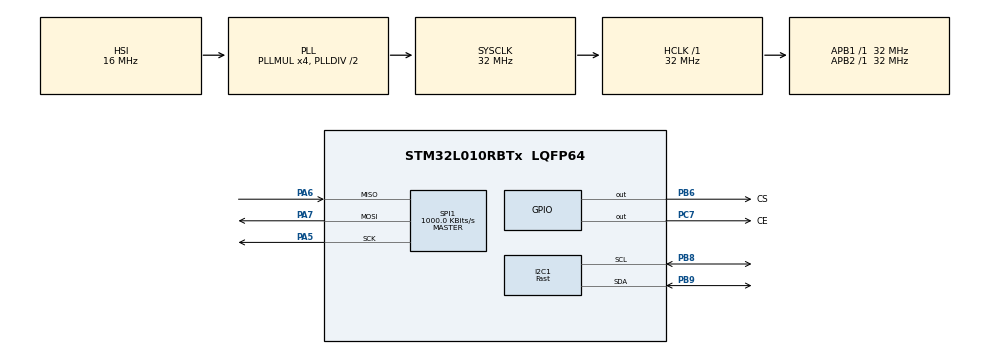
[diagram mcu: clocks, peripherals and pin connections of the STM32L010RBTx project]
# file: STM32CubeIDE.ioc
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Mcu.Family=STM32L0
RCC.MSI_VALUE=2097000
PA6.Mode=Full_Duplex_Master
PA7.Mode=Full_Duplex_Master
I2C1.I2C_Speed_Mode=I2C_Fast
SPI1.VirtualType=VM_MASTER
PA14.GPIO_Label=TCK
PB6.GPIO_Label=CS
RCC.SYSCLKSource=RCC_SYSCLKSOURCE_PLLCLK
ProjectManager.StackSize=0x400
PA13.Signal=SYS_SWDIO
RCC.HSI16_VALUE=16000000
TIM21.Period=12800
ProjectManager.TargetToolchain=STM32CubeIDE
SPI1.Direction=SPI_DIRECTION_2LINES
RCC.HCLKFreq_Value=32000000
PB9.Mode=I2C
RCC.APB2TimFreq_Value=32000000
PB6.Signal=GPIO_Output
I2C1.Timing=0x00300F38
PC7.Signal=GPIO_Output
SPI1.CalculateBaudRate=1000.0 KBits/s
RCC.LSE_VALUE=32768
RCC.AHBFreq_Value=32000000
PA5.Signal=SPI1_SCK
RCC.HSE_VALUE=16000000
board=NUCLEO-L010RB
RCC.VCOOutputFreq_Value=64000000
RCC.PLLMUL=RCC_PLLMUL_4
RCC.APB2Freq_Value=32000000
VP_TIM21_VS_ClockSourceINT.Mode=Internal
VP_TIM2_VS_ClockSourceINT.Mode=Internal
SPI1.Mode=SPI_MODE_MASTER
PA14.Mode=Serial_Wire
TIM21.Prescaler=9999
TIM2.Period=25641
PA13.Mode=Serial_Wire
Mcu.Name=STM32L010RBTx
PA13.GPIO_Label=TMS
PC7.GPIO_Label=CE
RCC.SYSCLKFreq_VALUE=32000000
Mcu.Package=LQFP64
PB9.Signal=I2C1_SDA
TIM2.Prescaler=23
PA6.Signal=SPI1_MISO
PB6.PinState=GPIO_PIN_SET
PA14.Signal=SYS_SWCLK
ProjectManager.HeapSize=0x200
RCC.HSI_VALUE=16000000
PB8.Mode=I2C
RCC.APB1TimFreq_Value=32000000
PB8.Signal=I2C1_SCL
RCC.APB1Freq_Value=32000000
SPI1.BaudRatePrescaler=SPI_BAUDRATEPRESCALER_32
RCC.HSI48_VALUE=48000000
PA5.Mode=Full_Duplex_Master
PA7.Signal=SPI1_MOSI

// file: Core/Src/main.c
/* USER CODE BEGIN Header */
/**
 ******************************************************************************
 * @file           : main.c
 * @brief          : Main program body
 ******************************************************************************
 * @attention
 *
 * <h2><center>&copy; Copyright (c) 2021 STMicroelectronics.
 * All rights reserved.</center></h2>
 *
 * This software component is licensed by ST under BSD 3-Clause license,
 * the "License"; You may not use this file except in compliance with the
 * License. You may obtain a copy of the License at:
 *                        opensource.org/licenses/BSD-3-Clause
 *
 ******************************************************************************
 */
/* USER CODE END Header */
#include "main.h"

/* USER CODE BEGIN Includes */
#include "nRF24L01p.h"

/* USER CODE END Includes */

/* USER CODE BEGIN PTD */
enum fifo
{
  FIFO_OK = 0,
  FIFO_EMPTY = 1,
  FIFO_FULL = 2,
};

/* USER CODE END PTD */

/* USER CODE BEGIN PD */
#define LSM6DSL_R_ADD 0xD7
#define LSM6DSL_W_ADD 0xD6

/* USER CODE END PD */

I2C_HandleTypeDef hi2c1;

SPI_HandleTypeDef hspi1;

TIM_HandleTypeDef htim2;
TIM_HandleTypeDef htim21;

void SystemClock_Config(void);
static void MX_GPIO_Init(void);
static void MX_SPI1_Init(void);
static void MX_TIM2_Init(void);
static void MX_I2C1_Init(void);
static void MX_TIM21_Init(void);
/* USER CODE BEGIN PFP */

void Radio_Init(uint8_t *receiver, uint8_t *transmitter);
void Radio_Receive(void);
void Radio_Transmit(uint8_t *package);

void Acc_Init(void);

void FIFO_Init(void);
int FIFO_Write(uint8_t*, uint8_t);
int FIFO_Read(uint8_t*, uint8_t);

/* USER CODE END PFP */

/* USER CODE BEGIN 0 */

uint8_t transmitter[5] = {0x77, 0xF0, 0xF0, 0xE8, 0xE8};  //This is me, this is my address.
uint8_t receiver[5] = {0xE1, 0xF0, 0xF0, 0xE8, 0xE8};

uint8_t TxSPI[6] = {0xFF, 0xFF, 0xFF, 0xFF, 0xFF, 0xFF};
uint8_t RxSPI[6] = {0xFF, 0xFF, 0xFF, 0xFF, 0xFF, 0xFF};

uint8_t settings[14];
uint8_t package[14];
//uint16_t timeStamp[4000];

/* Queue structure */
#define FIFO_ELEMENTS 6000
#define FIFO_SIZE (FIFO_ELEMENTS + 1)
uint8_t FIFO_buffer[FIFO_SIZE];
uint16_t FIFO_head, FIFO_tail;

int counter;
int counter2;

int16_t accx = 0;
int16_t accy = 0;
int16_t accz = 1;

/* USER CODE END 0 */

int main(void)
{

  /* MCU Configuration--------------------------------------------------------*/

  /* Reset of all peripherals, Initializes the Flash interface and the Systick. */
  HAL_Init();

  /* Configure the system clock */
  SystemClock_Config();

  /* USER CODE BEGIN SysInit */
  RCC->CR &= ~(1 << RCC_CR_MSION_Pos);  //fc:process "Disable" "MSI clock"

  /* USER CODE END SysInit */

  /* Initialize all configured peripherals */
  MX_GPIO_Init();
  MX_SPI1_Init();
  MX_TIM2_Init();
  MX_I2C1_Init();
  MX_TIM21_Init();
  /* USER CODE BEGIN 2 */

  // Flush SPI buffer
  HAL_SPI_Transmit(&hspi1, TxSPI, 6, 100);  //fc:middleware "Flush SPI buffer"
  HAL_SPI_Transmit(&hspi1, TxSPI, 6, 100);
  HAL_SPI_Transmit(&hspi1, TxSPI, 6, 100);

  Radio_Init(receiver, transmitter);  //fc:subRoutine Initialise Radio
  Acc_Init();  //fc:subRoutine Initialise accelerometer

  // Start interrupt on TIM2
  NVIC->ISER[0] |= (1 << TIM2_IRQn);  //fc:process "Enable NVIC interrupt" "for TIM2"
  NVIC_SetPriority(TIM2_IRQn, 1);  //fc:middleware "Edit TIM2 priority"
  TIM2->DIER |= (1 << TIM_DIER_CC1IE_Pos);  //fc:process "Enable TIM2 interrupt"
  TIM2->CR1 |= (1 << TIM_CR1_CEN_Pos);  //fc:process "Start TIM2 counter"

  NVIC->ISER[0] |= (1 << TIM21_IRQn);  //fc:process "Enable NVIC interrupt" "for TIM2"
  NVIC_SetPriority(TIM21_IRQn, 3);  //fc:middleware "Edit TIM2 priority"
  TIM21->DIER |= (1 << TIM_DIER_CC1IE_Pos);  //fc:process "Enable TIM21 interrupt"
  TIM21->CR1 |= (1 << TIM_CR1_CEN_Pos);  //fc:process "Start TIM21 counter"

  package[0] = 0x11;
  package[1] = 0x22;
  package[2] = 0x33;
  package[3] = 0x44;
  package[4] = 0x55;

  TxSPI[0] = W_REGISTER(CONFIG);
  TxSPI[1] = 0x3E;
  HAL_GPIO_WritePin(CS_GPIO_Port, CS_Pin, GPIO_PIN_RESET);
  HAL_SPI_Transmit(&hspi1, TxSPI, 2, 100);
  HAL_GPIO_WritePin(CS_GPIO_Port, CS_Pin, GPIO_PIN_SET);
  /* USER CODE END 2 */

  /* Infinite loop */
  /* USER CODE BEGIN WHILE */
  while(1)  //fc:forLoop while(1)
  {
    /* USER CODE END WHILE */

    /* USER CODE BEGIN 3 */
    //fc:interrupt "TIM2_IRQHandler" "every 1000 ms"
  }  //fc:end
  /* USER CODE END 3 */
}

void SystemClock_Config(void)
{
  RCC_OscInitTypeDef RCC_OscInitStruct = {0};
  RCC_ClkInitTypeDef RCC_ClkInitStruct = {0};
  RCC_PeriphCLKInitTypeDef PeriphClkInit = {0};

  /** Configure the main internal regulator output voltage
   */
  __HAL_PWR_VOLTAGESCALING_CONFIG(PWR_REGULATOR_VOLTAGE_SCALE1);
  /** Initializes the RCC Oscillators according to the specified parameters
   * in the RCC_OscInitTypeDef structure.
   */
  RCC_OscInitStruct.OscillatorType = RCC_OSCILLATORTYPE_HSI;
  RCC_OscInitStruct.HSIState = RCC_HSI_ON;
  RCC_OscInitStruct.HSICalibrationValue = RCC_HSICALIBRATION_DEFAULT;
  RCC_OscInitStruct.PLL.PLLState = RCC_PLL_ON;
  RCC_OscInitStruct.PLL.PLLSource = RCC_PLLSOURCE_HSI;
  RCC_OscInitStruct.PLL.PLLMUL = RCC_PLLMUL_4;
  RCC_OscInitStruct.PLL.PLLDIV = RCC_PLLDIV_2;
  if(HAL_RCC_OscConfig(&RCC_OscInitStruct) != HAL_OK)
  {
    Error_Handler();
  }
  /** Initializes the CPU, AHB and APB buses clocks
   */
  RCC_ClkInitStruct.ClockType = RCC_CLOCKTYPE_HCLK | RCC_CLOCKTYPE_SYSCLK | RCC_CLOCKTYPE_PCLK1 | RCC_CLOCKTYPE_PCLK2;
  RCC_ClkInitStruct.SYSCLKSource = RCC_SYSCLKSOURCE_PLLCLK;
  RCC_ClkInitStruct.AHBCLKDivider = RCC_SYSCLK_DIV1;
  RCC_ClkInitStruct.APB1CLKDivider = RCC_HCLK_DIV1;
  RCC_ClkInitStruct.APB2CLKDivider = RCC_HCLK_DIV1;

  if(HAL_RCC_ClockConfig(&RCC_ClkInitStruct, FLASH_LATENCY_1) != HAL_OK)
  {
    Error_Handler();
  }
  PeriphClkInit.PeriphClockSelection = RCC_PERIPHCLK_I2C1;
  PeriphClkInit.I2c1ClockSelection = RCC_I2C1CLKSOURCE_PCLK1;
  if(HAL_RCCEx_PeriphCLKConfig(&PeriphClkInit) != HAL_OK)
  {
    Error_Handler();
  }
}

static void MX_I2C1_Init(void)
{

  hi2c1.Instance = I2C1;
  hi2c1.Init.Timing = 0x00300F38;
  hi2c1.Init.OwnAddress1 = 0;
  hi2c1.Init.AddressingMode = I2C_ADDRESSINGMODE_7BIT;
  hi2c1.Init.DualAddressMode = I2C_DUALADDRESS_DISABLE;
  hi2c1.Init.OwnAddress2 = 0;
  hi2c1.Init.OwnAddress2Masks = I2C_OA2_NOMASK;
  hi2c1.Init.GeneralCallMode = I2C_GENERALCALL_DISABLE;
  hi2c1.Init.NoStretchMode = I2C_NOSTRETCH_DISABLE;
  if(HAL_I2C_Init(&hi2c1) != HAL_OK)
  {
    Error_Handler();
  }
  /** Configure Analogue filter
   */
  if(HAL_I2CEx_ConfigAnalogFilter(&hi2c1, I2C_ANALOGFILTER_ENABLE) != HAL_OK)
  {
    Error_Handler();
  }
  /** Configure Digital filter
   */
  if(HAL_I2CEx_ConfigDigitalFilter(&hi2c1, 0) != HAL_OK)
  {
    Error_Handler();
  }

}

static void MX_SPI1_Init(void)
{

  /* SPI1 parameter configuration*/
  hspi1.Instance = SPI1;
  hspi1.Init.Mode = SPI_MODE_MASTER;
  hspi1.Init.Direction = SPI_DIRECTION_2LINES;
  hspi1.Init.DataSize = SPI_DATASIZE_8BIT;
  hspi1.Init.CLKPolarity = SPI_POLARITY_LOW;
  hspi1.Init.CLKPhase = SPI_PHASE_1EDGE;
  hspi1.Init.NSS = SPI_NSS_SOFT;
  hspi1.Init.BaudRatePrescaler = SPI_BAUDRATEPRESCALER_32;
  hspi1.Init.FirstBit = SPI_FIRSTBIT_MSB;
  hspi1.Init.TIMode = SPI_TIMODE_DISABLE;
  hspi1.Init.CRCCalculation = SPI_CRCCALCULATION_DISABLE;
  hspi1.Init.CRCPolynomial = 7;
  if(HAL_SPI_Init(&hspi1) != HAL_OK)
  {
    Error_Handler();
  }

}

static void MX_TIM2_Init(void)
{

  TIM_ClockConfigTypeDef sClockSourceConfig = {0};
  TIM_MasterConfigTypeDef sMasterConfig = {0};

  htim2.Instance = TIM2;
  htim2.Init.Prescaler = 23;
  htim2.Init.CounterMode = TIM_COUNTERMODE_UP;
  htim2.Init.Period = 25641;
  htim2.Init.ClockDivision = TIM_CLOCKDIVISION_DIV1;
  htim2.Init.AutoReloadPreload = TIM_AUTORELOAD_PRELOAD_DISABLE;
  if(HAL_TIM_Base_Init(&htim2) != HAL_OK)
  {
    Error_Handler();
  }
  sClockSourceConfig.ClockSource = TIM_CLOCKSOURCE_INTERNAL;
  if(HAL_TIM_ConfigClockSource(&htim2, &sClockSourceConfig) != HAL_OK)
  {
    Error_Handler();
  }
  sMasterConfig.MasterOutputTrigger = TIM_TRGO_RESET;
  sMasterConfig.MasterSlaveMode = TIM_MASTERSLAVEMODE_DISABLE;
  if(HAL_TIMEx_MasterConfigSynchronization(&htim2, &sMasterConfig) != HAL_OK)
  {
    Error_Handler();
  }

}

static void MX_TIM21_Init(void)
{

  TIM_ClockConfigTypeDef sClockSourceConfig = {0};
  TIM_MasterConfigTypeDef sMasterConfig = {0};

  htim21.Instance = TIM21;
  htim21.Init.Prescaler = 9999;
  htim21.Init.CounterMode = TIM_COUNTERMODE_UP;
  htim21.Init.Period = 12800;
  htim21.Init.ClockDivision = TIM_CLOCKDIVISION_DIV1;
  htim21.Init.AutoReloadPreload = TIM_AUTORELOAD_PRELOAD_DISABLE;
  if(HAL_TIM_Base_Init(&htim21) != HAL_OK)
  {
    Error_Handler();
  }
  sClockSourceConfig.ClockSource = TIM_CLOCKSOURCE_INTERNAL;
  if(HAL_TIM_ConfigClockSource(&htim21, &sClockSourceConfig) != HAL_OK)
  {
    Error_Handler();
  }
  sMasterConfig.MasterOutputTrigger = TIM_TRGO_RESET;
  sMasterConfig.MasterSlaveMode = TIM_MASTERSLAVEMODE_DISABLE;
  if(HAL_TIMEx_MasterConfigSynchronization(&htim21, &sMasterConfig) != HAL_OK)
  {
    Error_Handler();
  }

}

static void MX_GPIO_Init(void)
{
  GPIO_InitTypeDef GPIO_InitStruct = {0};

  /* GPIO Ports Clock Enable */
  __HAL_RCC_GPIOA_CLK_ENABLE();
  __HAL_RCC_GPIOC_CLK_ENABLE();
  __HAL_RCC_GPIOB_CLK_ENABLE();

  /*Configure GPIO pin Output Level */
  HAL_GPIO_WritePin(CE_GPIO_Port, CE_Pin, GPIO_PIN_RESET);

  /*Configure GPIO pin Output Level */
  HAL_GPIO_WritePin(CS_GPIO_Port, CS_Pin, GPIO_PIN_SET);

  /*Configure GPIO pin : CE_Pin */
  GPIO_InitStruct.Pin = CE_Pin;
  GPIO_InitStruct.Mode = GPIO_MODE_OUTPUT_PP;
  GPIO_InitStruct.Pull = GPIO_NOPULL;
  GPIO_InitStruct.Speed = GPIO_SPEED_FREQ_LOW;
  HAL_GPIO_Init(CE_GPIO_Port, &GPIO_InitStruct);

  /*Configure GPIO pin : CS_Pin */
  GPIO_InitStruct.Pin = CS_Pin;
  GPIO_InitStruct.Mode = GPIO_MODE_OUTPUT_PP;
  GPIO_InitStruct.Pull = GPIO_NOPULL;
  GPIO_InitStruct.Speed = GPIO_SPEED_FREQ_LOW;
  HAL_GPIO_Init(CS_GPIO_Port, &GPIO_InitStruct);

}

/* USER CODE BEGIN 4 */

void Acc_Init()
{
  TxSPI[0] = 0x10;
  TxSPI[1] = 0x80;
  HAL_I2C_Master_Transmit(&hi2c1, LSM6DSL_W_ADD, TxSPI, 2, 100);

  // Timestamp LSB = 25 us
  TxSPI[0] = 0x5C;
  TxSPI[1] = 0x10;
  HAL_I2C_Master_Transmit(&hi2c1, LSM6DSL_W_ADD, TxSPI, 2, 100);

  // Enable timestamp
  TxSPI[0] = 0x19;
  TxSPI[1] = 0x20;
  HAL_I2C_Master_Transmit(&hi2c1, LSM6DSL_W_ADD, TxSPI, 2, 100);
}

void Radio_Init(uint8_t *receiver, uint8_t *transmitter)
{
  int i;
  // Set RX address for 0th pipe
  TxSPI[0] = W_REGISTER(RX_ADDR_P0);
  for(i = 0; i < 5; i++)
  {
    TxSPI[i + 1] = *(transmitter + i);
  }
  HAL_GPIO_WritePin(CS_GPIO_Port, CS_Pin, GPIO_PIN_RESET);
  HAL_SPI_Transmit(&hspi1, TxSPI, 6, 100);
  HAL_GPIO_WritePin(CS_GPIO_Port, CS_Pin, GPIO_PIN_SET);

  // Set RX address for 1st pipe
  TxSPI[0] = W_REGISTER(RX_ADDR_P1);
  for(i = 0; i < 5; i++)
  {
    TxSPI[i + 1] = *(receiver + i);
  }
  HAL_GPIO_WritePin(CS_GPIO_Port, CS_Pin, GPIO_PIN_RESET);
  HAL_SPI_Transmit(&hspi1, TxSPI, 6, 100);
  HAL_GPIO_WritePin(CS_GPIO_Port, CS_Pin, GPIO_PIN_SET);

  // Set TX address. Has to be the same as RX for 0th pipe if acknowledge is enabled.
  TxSPI[0] = W_REGISTER(TX_ADDR);
  for(i = 0; i < 5; i++)
  {
    TxSPI[i + 1] = *(transmitter + i);
  }
  HAL_GPIO_WritePin(CS_GPIO_Port, CS_Pin, GPIO_PIN_RESET);
  HAL_SPI_Transmit(&hspi1, TxSPI, 6, 100);
  HAL_GPIO_WritePin(CS_GPIO_Port, CS_Pin, GPIO_PIN_SET);

  // Set 14 bytes for receive for 0th pipe
  TxSPI[0] = W_REGISTER(RX_PW_P0);
  TxSPI[1] = 14;
  HAL_GPIO_WritePin(CS_GPIO_Port, CS_Pin, GPIO_PIN_RESET);
  HAL_SPI_Transmit(&hspi1, TxSPI, 2, 100);
  HAL_GPIO_WritePin(CS_GPIO_Port, CS_Pin, GPIO_PIN_SET);

  // Set 14 bytes for receive for 1st pipe
  TxSPI[0] = W_REGISTER(RX_PW_P1);
  TxSPI[1] = 14;
  HAL_GPIO_WritePin(CS_GPIO_Port, CS_Pin, GPIO_PIN_RESET);
  HAL_SPI_Transmit(&hspi1, TxSPI, 2, 100);
  HAL_GPIO_WritePin(CS_GPIO_Port, CS_Pin, GPIO_PIN_SET);

  // Set RX in turn on
  TxSPI[0] = W_REGISTER(CONFIG);
  TxSPI[1] = 0x3F;
  HAL_GPIO_WritePin(CS_GPIO_Port, CS_Pin, GPIO_PIN_RESET);
  HAL_SPI_Transmit(&hspi1, TxSPI, 2, 100);
  HAL_GPIO_WritePin(CS_GPIO_Port, CS_Pin, GPIO_PIN_SET);

  // Set frequency to 2400 + 76 MHz
  TxSPI[0] = W_REGISTER(RF_CH);
  TxSPI[1] = 76;
  HAL_GPIO_WritePin(CS_GPIO_Port, CS_Pin, GPIO_PIN_RESET);
  HAL_SPI_Transmit(&hspi1, TxSPI, 2, 100);
  HAL_GPIO_WritePin(CS_GPIO_Port, CS_Pin, GPIO_PIN_SET);

  // Set SETUP_RETR register
  TxSPI[0] = W_REGISTER(SETUP_RETR);
  TxSPI[1] = 0x03;
  HAL_GPIO_WritePin(CS_GPIO_Port, CS_Pin, GPIO_PIN_RESET);
  HAL_SPI_Transmit(&hspi1, TxSPI, 2, 100);
  HAL_GPIO_WritePin(CS_GPIO_Port, CS_Pin, GPIO_PIN_SET);

  // Set RF_SETUP register
  TxSPI[0] = W_REGISTER(RF_SETUP);
  TxSPI[1] = 0x08;
  HAL_GPIO_WritePin(CS_GPIO_Port, CS_Pin, GPIO_PIN_RESET);
  HAL_SPI_Transmit(&hspi1, TxSPI, 2, 100);
  HAL_GPIO_WritePin(CS_GPIO_Port, CS_Pin, GPIO_PIN_SET);

  // Set STATUS register
  TxSPI[0] = W_REGISTER(STATUS);
  TxSPI[1] = 0x70;
  HAL_GPIO_WritePin(CS_GPIO_Port, CS_Pin, GPIO_PIN_RESET);
  HAL_SPI_Transmit(&hspi1, TxSPI, 2, 100);
  HAL_GPIO_WritePin(CS_GPIO_Port, CS_Pin, GPIO_PIN_SET);

  // Flush RX in TX buffer
  // Flush RX buffer
  TxSPI[0] = FLUSH_RX;
  HAL_GPIO_WritePin(CS_GPIO_Port, CS_Pin, GPIO_PIN_RESET);
  HAL_SPI_Transmit(&hspi1, TxSPI, 1, 100);
  HAL_GPIO_WritePin(CS_GPIO_Port, CS_Pin, GPIO_PIN_SET);
  // Flush TX buffer
  TxSPI[0] = FLUSH_TX;
  HAL_GPIO_WritePin(CS_GPIO_Port, CS_Pin, GPIO_PIN_RESET);
  HAL_SPI_Transmit(&hspi1, TxSPI, 1, 100);
  HAL_GPIO_WritePin(CS_GPIO_Port, CS_Pin, GPIO_PIN_SET);

}

void Radio_Receive()
{
  // Read data from nRF
  // 1. read data from RX FIFO
  settings[0] = R_RX_PAYLOAD;
  HAL_GPIO_WritePin(CS_GPIO_Port, CS_Pin, GPIO_PIN_RESET);
  HAL_SPI_Receive(&hspi1, settings, 14, 100);
  HAL_GPIO_WritePin(CS_GPIO_Port, CS_Pin, GPIO_PIN_SET);

  // 2. reset RX_DR IRQ flag
  TxSPI[0] = W_REGISTER(STATUS);
  TxSPI[1] = (1 << RX_DR);
  HAL_GPIO_WritePin(CS_GPIO_Port, CS_Pin, GPIO_PIN_RESET);
  HAL_SPI_Transmit(&hspi1, TxSPI, 2, 100);
  HAL_GPIO_WritePin(CS_GPIO_Port, CS_Pin, GPIO_PIN_SET);
}

void Radio_Transmit(uint8_t *package)
{
  uint8_t tmp_package[15];
  // CE = 0
  HAL_GPIO_WritePin(CE_GPIO_Port, CE_Pin, GPIO_PIN_RESET);

  // 1. set PRIM_RX to 0 to enable TX mode
  /*TxSPI[0] = W_REGISTER(CONFIG);
   TxSPI[1] = 0x3E;
   HAL_GPIO_WritePin(CS_GPIO_Port, CS_Pin, GPIO_PIN_RESET);
   HAL_SPI_Transmit(&hspi1, TxSPI, 2, 100);
   HAL_GPIO_WritePin(CS_GPIO_Port, CS_Pin, GPIO_PIN_SET);*/

  // Clear RX_DR, TX_DS, MAX_RT flags
  TxSPI[0] = W_REGISTER(STATUS);
  TxSPI[1] = ((1 << RX_DR) || (1 << TX_DS) || (1 << MAX_RT));
  HAL_GPIO_WritePin(CS_GPIO_Port, CS_Pin, GPIO_PIN_RESET);
  HAL_SPI_Transmit(&hspi1, TxSPI, 2, 100);
  HAL_GPIO_WritePin(CS_GPIO_Port, CS_Pin, GPIO_PIN_SET);

  // Wait 130 us for TX to be enabled
  //HAL_Delay(1);

  // 2. load package to FIFO
  tmp_package[0] = W_TX_PAYLOAD;
  for(int i = 0; i < 14; i++)
  {
    tmp_package[i + 1] = *(package + i);
  }
  HAL_GPIO_WritePin(CS_GPIO_Port, CS_Pin, GPIO_PIN_RESET);
  HAL_SPI_Transmit(&hspi1, tmp_package, 15, 100);
  HAL_GPIO_WritePin(CS_GPIO_Port, CS_Pin, GPIO_PIN_SET);

  // 3. send at least 10 us pulse to CE to start transmitting
  HAL_GPIO_WritePin(CE_GPIO_Port, CE_Pin, GPIO_PIN_SET);
  HAL_Delay(1);
  HAL_GPIO_WritePin(CE_GPIO_Port, CE_Pin, GPIO_PIN_RESET);

  // 4. check if data was received on the other end
  RxSPI[0] = R_REGISTER(STATUS);
  RxSPI[1] = NOP;
  HAL_GPIO_WritePin(CS_GPIO_Port, CS_Pin, GPIO_PIN_RESET);
  HAL_SPI_Transmit(&hspi1, RxSPI, 2, 100);
  HAL_GPIO_WritePin(CS_GPIO_Port, CS_Pin, GPIO_PIN_SET);

  if(RxSPI[0] & (1 << TX_DS))
  {
    // data was transmitted successfully, clear flags
    TxSPI[0] = W_REGISTER(CONFIG);
    TxSPI[1] = ((1 << RX_DR) || (1 << TX_DS) || (1 << MAX_RT));
    HAL_GPIO_WritePin(CS_GPIO_Port, CS_Pin, GPIO_PIN_RESET);
    HAL_SPI_Transmit(&hspi1, TxSPI, 2, 100);
    HAL_GPIO_WritePin(CS_GPIO_Port, CS_Pin, GPIO_PIN_SET);
  }
  else
  {
    // flush TX FIFO
    TxSPI[0] = FLUSH_TX;
    HAL_GPIO_WritePin(CS_GPIO_Port, CS_Pin, GPIO_PIN_RESET);
    HAL_SPI_Transmit(&hspi1, TxSPI, 1, 100);
    HAL_GPIO_WritePin(CS_GPIO_Port, CS_Pin, GPIO_PIN_SET);
  }
}

// task 1
// Freq: 52 Hz
void TIM2_IRQHandler(void)  //fc:startStop TIM2_IRQHandler
{
  char fifo_status;
  if(counter < 10000)
  {
    package[0] = 0x28;
    HAL_I2C_Master_Transmit(&hi2c1, LSM6DSL_W_ADD, package, 1, 100);
    HAL_I2C_Master_Receive(&hi2c1, LSM6DSL_R_ADD, package, 6, 100);  //fc:middleware "Get accel data"

    //accx = (package[1] << 8) | package[0];
    //accy = (package[3] << 8) | package[2];
    //accz = (package[5] << 8) | package[4];
    fifo_status = FIFO_Write(package, 6);

    if(fifo_status == FIFO_FULL)
    {
      __asm__("BKPT");
    }

    counter++;
  }
  else
  {
    __asm__("BKPT");
  }

  TIM2->SR = 0;  //fc:process "Clear interrupt flag"
}  //fc:startStop return

// task 2
// Period 4 s
void TIM21_IRQHandler(void)
{
  char fifo_status;
  do
  {
    fifo_status = FIFO_Read(package, 6);

    Radio_Transmit(package);  //fc:subRoutine Radio_Transmit

    /*TxSPI[0] = W_REGISTER(CONFIG);
     TxSPI[1] = 0x3F;  // Enable RX
     HAL_GPIO_WritePin(CS_GPIO_Port, CS_Pin, GPIO_PIN_RESET);
     HAL_SPI_Transmit(&hspi1, TxSPI, 2, 100);  //fc:middleware "Enable RX on nRF"
     HAL_GPIO_WritePin(CS_GPIO_Port, CS_Pin, GPIO_PIN_SET);

     HAL_GPIO_WritePin(CE_GPIO_Port, CE_Pin, GPIO_PIN_SET);  //fc:middleware "CE to HIGH"*/

  }
  while(fifo_status == FIFO_OK);
  counter2++;

  TIM21->SR = 0;  //fc:process "Clear interrupt flag"
}

void FIFO_Init(void)
{
  FIFO_head = 0;
  FIFO_tail = 0;
}

int FIFO_Write(uint8_t *new, uint8_t size)
{
  for(int i = 0; i < size; i++)
  {
    if(FIFO_head == ((FIFO_tail - 1 + FIFO_SIZE) % FIFO_SIZE))
    {
      return FIFO_FULL; /* Queue Full*/
    }

    FIFO_buffer[FIFO_head] = *(new + i);

    FIFO_head = (FIFO_head + 1) % FIFO_SIZE;
  }

  return FIFO_OK;  // No errors
}

int FIFO_Read(uint8_t *old, uint8_t size)
{
  for(int i = 0; i < size; i++)
  {
    if(FIFO_head == FIFO_tail)
    {
      return FIFO_EMPTY; /* Queue Empty - nothing to get*/
    }

    *(old + i) = FIFO_buffer[FIFO_tail];

    FIFO_tail = (FIFO_tail + 1) % FIFO_SIZE;
  }

  return FIFO_OK;  // No errors
}

/* USER CODE END 4 */

void Error_Handler(void)
{
  __disable_irq();
  while(1)
  {
  }
}

/************************ (C) COPYRIGHT STMicroelectronics *****END OF FILE****/
